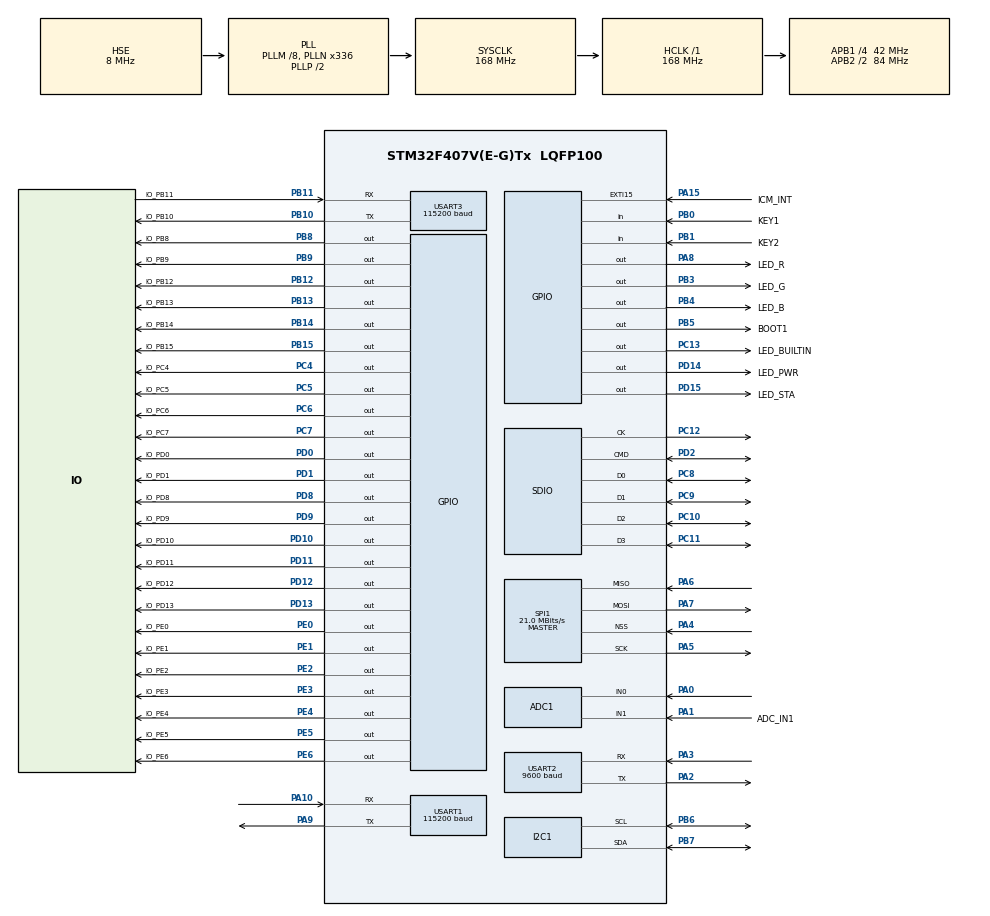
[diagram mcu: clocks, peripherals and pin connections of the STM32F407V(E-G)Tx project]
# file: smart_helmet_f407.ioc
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ADC1.Channel-0\#ChannelRegularConversion=ADC_CHANNEL_0
ADC1.NbrOfConversionFlag=1
ADC1.Rank-0\#ChannelRegularConversion=1
ADC1.SamplingTime-0\#ChannelRegularConversion=ADC_SAMPLETIME_3CYCLES
ADC1.master=1
Mcu.Family=STM32F4
Mcu.Name=STM32F407V(E-G)Tx
Mcu.Package=LQFP100
NVIC.EXTI15_10_IRQn=true\:5\:0\:false\:false\:true\:true\:true\:true
NVIC.PriorityGroup=NVIC_PRIORITYGROUP_4
PA0-WKUP.Signal=ADCx_IN0
PA1.GPIO_Label=ADC_IN1
PA1.Signal=ADCx_IN1
PA2.Mode=Asynchronous
PA2.Signal=USART2_TX
PA3.Mode=Asynchronous
PA3.Signal=USART2_RX
PA10.Mode=Asynchronous
PA10.Signal=USART1_RX
PA13.Mode=Serial_Wire
PA13.Signal=SYS_JTMS-SWDIO
PA14.Mode=Serial_Wire
PA14.Signal=SYS_JTCK-SWCLK
PA15.GPIO_Label=ICM_INT
PA15.Signal=GPXTI15
PA4.Mode=NSS_Signal_Hard_Input
PA4.Signal=SPI1_NSS
PA5.Mode=Full_Duplex_Master
PA5.Signal=SPI1_SCK
PA6.Mode=Full_Duplex_Master
PA6.Signal=SPI1_MISO
PA7.Mode=Full_Duplex_Master
PA7.Signal=SPI1_MOSI
PA8.GPIO_Label=LED_R
PA8.Signal=GPIO_Output
PA9.Mode=Asynchronous
PA9.Signal=USART1_TX
PB0.GPIO_Label=KEY1
PB0.Signal=GPIO_Input
PB1.GPIO_Label=KEY2
PB1.Signal=GPIO_Input
PB10.GPIO_Label=IO_PB10
PB10.Mode=Asynchronous
PB10.Signal=USART3_TX
PB11.GPIO_Label=IO_PB11
PB11.Mode=Asynchronous
PB11.Signal=USART3_RX
PB12.GPIO_Label=IO_PB12
PB12.Signal=GPIO_Output
PB13.GPIO_Label=IO_PB13
PB13.Signal=GPIO_Output
PB14.GPIO_Label=IO_PB14
PB14.Signal=GPIO_Output
PB15.GPIO_Label=IO_PB15
PB15.Signal=GPIO_Output
PB3.GPIO_Label=LED_G
PB3.Signal=GPIO_Output
PB4.GPIO_Label=LED_B
PB4.Signal=GPIO_Output
PB5.GPIO_Label=BOOT1
PB5.Signal=GPIO_Output
PB6.Mode=I2C
PB6.Signal=I2C1_SCL
PB7.Mode=I2C
PB7.Signal=I2C1_SDA
PB8.GPIO_Label=IO_PB8
PB8.Signal=GPIO_Output
PB9.GPIO_Label=IO_PB9
PB9.Signal=GPIO_Output
PC10.Mode=SD_4_bits_Wide_bus
PC10.Signal=SDIO_D2
PC11.Mode=SD_4_bits_Wide_bus
PC11.Signal=SDIO_D3
PC12.Mode=SD_4_bits_Wide_bus
PC12.Signal=SDIO_CK
PC13-ANTI_TAMP.GPIO_Label=LED_BUILTIN
PC13-ANTI_TAMP.Signal=GPIO_Output
PC14-OSC32_IN.Mode=LSE-External-Oscillator
PC14-OSC32_IN.Signal=RCC_OSC32_IN
PC15-OSC32_OUT.Mode=LSE-External-Oscillator
PC15-OSC32_OUT.Signal=RCC_OSC32_OUT
PC4.GPIO_Label=IO_PC4
PC4.Signal=GPIO_Output
PC5.GPIO_Label=IO_PC5
PC5.Signal=GPIO_Output
PC6.GPIO_Label=IO_PC6
PC6.Signal=GPIO_Output
PC7.GPIO_Label=IO_PC7
PC7.Signal=GPIO_Output
PC8.Mode=SD_4_bits_Wide_bus
PC8.Signal=SDIO_D0
PC9.Mode=SD_4_bits_Wide_bus
PC9.Signal=SDIO_D1
PD0.GPIO_Label=IO_PD0
PD0.Signal=GPIO_Output
PD1.GPIO_Label=IO_PD1
PD1.Signal=GPIO_Output
PD10.GPIO_Label=IO_PD10
PD10.Signal=GPIO_Output
PD11.GPIO_Label=IO_PD11
PD11.Signal=GPIO_Output
PD12.GPIO_Label=IO_PD12
PD12.Signal=GPIO_Output
PD13.GPIO_Label=IO_PD13
PD13.Signal=GPIO_Output
PD14.GPIO_Label=LED_PWR
PD14.Signal=GPIO_Output
PD15.GPIO_Label=LED_STA
PD15.Signal=GPIO_Output
PD2.Mode=SD_4_bits_Wide_bus
PD2.Signal=SDIO_CMD
PD8.GPIO_Label=IO_PD8
PD8.Signal=GPIO_Output
PD9.GPIO_Label=IO_PD9
PD9.Signal=GPIO_Output
PE0.GPIO_Label=IO_PE0
PE0.Signal=GPIO_Output
PE1.GPIO_Label=IO_PE1
PE1.Signal=GPIO_Output
PE2.GPIO_Label=IO_PE2
PE2.Signal=GPIO_Output
PE3.GPIO_Label=IO_PE3
PE3.Signal=GPIO_Output
PE4.GPIO_Label=IO_PE4
PE4.Signal=GPIO_Output
PE5.GPIO_Label=IO_PE5
PE5.Signal=GPIO_Output
PE6.GPIO_Label=IO_PE6
PE6.Signal=GPIO_Output
PH0-OSC_IN.Mode=HSE-External-Oscillator
PH0-OSC_IN.Signal=RCC_OSC_IN
PH1-OSC_OUT.Mode=HSE-External-Oscillator
PH1-OSC_OUT.Signal=RCC_OSC_OUT
ProjectManager.HeapSize=0x400
ProjectManager.StackSize=0x800
ProjectManager.TargetToolchain=MDK-ARM V5
RCC.48MHZClocksFreq_Value=48000000
RCC.AHBFreq_Value=168000000
RCC.APB1CLKDivider=RCC_HCLK_DIV4
RCC.APB1Freq_Value=42000000
RCC.APB1TimFreq_Value=84000000
RCC.APB2CLKDivider=RCC_HCLK_DIV2
RCC.APB2Freq_Value=84000000
RCC.APB2TimFreq_Value=168000000
RCC.CortexFreq_Value=168000000
RCC.HCLKFreq_Value=168000000
RCC.HSE_VALUE=8000000
RCC.HSI_VALUE=16000000
RCC.PLLM=8
RCC.PLLN=336
RCC.PLLQ=7
RCC.PLLSourceVirtual=RCC_PLLSOURCE_HSE
RCC.SYSCLKFreq_VALUE=168000000
RCC.SYSCLKSource=RCC_SYSCLKSOURCE_PLLCLK
RCC.VCOOutputFreq_Value=336000000
SH.ADCx_IN0.0=ADC1_IN0,IN0
SH.ADCx_IN1.0=ADC1_IN1,IN1
SPI1.BaudRatePrescaler=SPI_BAUDRATEPRESCALER_4
SPI1.CalculateBaudRate=21.0 MBits/s
SPI1.Direction=SPI_DIRECTION_2LINES
SPI1.Mode=SPI_MODE_MASTER
SPI1.VirtualNSS=VM_NSSHARD
SPI1.VirtualType=VM_MASTER
TIM1.Period=65535
TIM1.Prescaler=167
USART1.BaudRate=115200
USART1.VirtualMode=VM_ASYNC
VP_TIM1_VS_ClockSourceINT.Mode=Internal
board=custom
USART2.BaudRate=9600
USART2.VirtualMode=VM_ASYNC
USART3.BaudRate=115200
USART3.VirtualMode=VM_ASYNC

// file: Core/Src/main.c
/* USER CODE BEGIN Header */
/**
  ******************************************************************************
  * @file           : main.c
  * @brief          : Main program body
  ******************************************************************************
  * @attention
  *
  * Copyright (c) 2025 STMicroelectronics.
  * All rights reserved.
  *
  * This software is licensed under terms that can be found in the LICENSE file
  * in the root directory of this software component.
  * If no LICENSE file comes with this software, it is provided AS-IS.
  *
  ******************************************************************************
  */
/* USER CODE END Header */
#include "main.h"
#include "adc.h"
#include "i2c.h"
#include "sdio.h"
#include "spi.h"
#include "tim.h"
#include "usart.h"
#include "gpio.h"

/* USER CODE BEGIN Includes */
#include "scheduler.h"
#include "max30102.h"
#include "mq2.h"
#include "atgm336h.h"
#include "esp01s.h"
#include "asr_pro.h"
/* USER CODE END Includes */

void SystemClock_Config(void);

int main(void)
{

  /* MCU Configuration--------------------------------------------------------*/

  /* Reset of all peripherals, Initializes the Flash interface and the Systick. */
  HAL_Init();

  /* Configure the system clock */
  SystemClock_Config();

  /* Initialize all configured peripherals */
  MX_GPIO_Init();
  MX_ADC1_Init();
  MX_I2C1_Init();
  MX_SDIO_SD_Init();
  MX_SPI1_Init();
  MX_TIM1_Init();
  MX_USART1_UART_Init();
  MX_USART2_UART_Init();
  MX_USART3_UART_Init();
  /* USER CODE BEGIN 2 */

  // 启动TIM1用于软件I2C时序
  HAL_TIM_Base_Start(&htim1);

  // 初始化调度器
  scheduler_init();

  // 初始化所有传感器模块
  printf("\r\n========================================\r\n");
  printf("STM32智能安全帽系统启动\r\n");
  printf("========================================\r\n");

  // 1. MAX30102心率血氧传感器
  MAX30102_Init();
  scheduler_add_task(max30102_task, 200);  // 200ms采集一次

  // 2. MQ2烟雾传感器
  MQ2_Init();
  scheduler_add_task(mq2_task, 500);  // 500ms检测一次

  // 3. ATGM336H GPS模块
  GPS_Init();
  scheduler_add_task(gps_task, 1000);  // 1000ms更新一次

  // 4. ESP01S WiFi模块
  ESP_Init();
  ESP_Connect_WiFi();
  ESP_Connect_MQTT();
  scheduler_add_task(esp_task, 5000);  // 5000ms上传一次数据

  // 5. ASR-PRO语音模块
  ASR_Init();
  scheduler_add_task(asr_task, 1000);  // 1000ms轮询一次

  printf("所有模块初始化完成！\r\n");
  printf("========================================\r\n\r\n");

  /* USER CODE END 2 */

  /* Infinite loop */
  while (1)
  {

    /* USER CODE BEGIN 3 */
    scheduler_run();
  }
  /* USER CODE END 3 */
}

void SystemClock_Config(void)
{
  RCC_OscInitTypeDef RCC_OscInitStruct = {0};
  RCC_ClkInitTypeDef RCC_ClkInitStruct = {0};

  /** Configure the main internal regulator output voltage
  */
  __HAL_RCC_PWR_CLK_ENABLE();
  __HAL_PWR_VOLTAGESCALING_CONFIG(PWR_REGULATOR_VOLTAGE_SCALE1);

  /** Initializes the RCC Oscillators according to the specified parameters
  * in the RCC_OscInitTypeDef structure.
  */
  RCC_OscInitStruct.OscillatorType = RCC_OSCILLATORTYPE_HSE;
  RCC_OscInitStruct.HSEState = RCC_HSE_ON;
  RCC_OscInitStruct.PLL.PLLState = RCC_PLL_ON;
  RCC_OscInitStruct.PLL.PLLSource = RCC_PLLSOURCE_HSE;
  RCC_OscInitStruct.PLL.PLLM = 8;
  RCC_OscInitStruct.PLL.PLLN = 336;
  RCC_OscInitStruct.PLL.PLLP = RCC_PLLP_DIV2;
  RCC_OscInitStruct.PLL.PLLQ = 7;
  if (HAL_RCC_OscConfig(&RCC_OscInitStruct) != HAL_OK)
  {
    Error_Handler();
  }

  /** Initializes the CPU, AHB and APB buses clocks
  */
  RCC_ClkInitStruct.ClockType = RCC_CLOCKTYPE_HCLK|RCC_CLOCKTYPE_SYSCLK
                              |RCC_CLOCKTYPE_PCLK1|RCC_CLOCKTYPE_PCLK2;
  RCC_ClkInitStruct.SYSCLKSource = RCC_SYSCLKSOURCE_PLLCLK;
  RCC_ClkInitStruct.AHBCLKDivider = RCC_SYSCLK_DIV1;
  RCC_ClkInitStruct.APB1CLKDivider = RCC_HCLK_DIV4;
  RCC_ClkInitStruct.APB2CLKDivider = RCC_HCLK_DIV2;

  if (HAL_RCC_ClockConfig(&RCC_ClkInitStruct, FLASH_LATENCY_5) != HAL_OK)
  {
    Error_Handler();
  }
}

/* USER CODE BEGIN 4 */

/**
 * @brief UART接收中断回调函数
 * @param huart: UART句柄指针
 */
void HAL_UART_RxCpltCallback(UART_HandleTypeDef *huart)
{
    // GPS模块接收回调（UART2）
    GPS_UART_RxCpltCallback(huart);
}

/* USER CODE END 4 */

void Error_Handler(void)
{
  __disable_irq();
  while (1)
  {
  }
}
